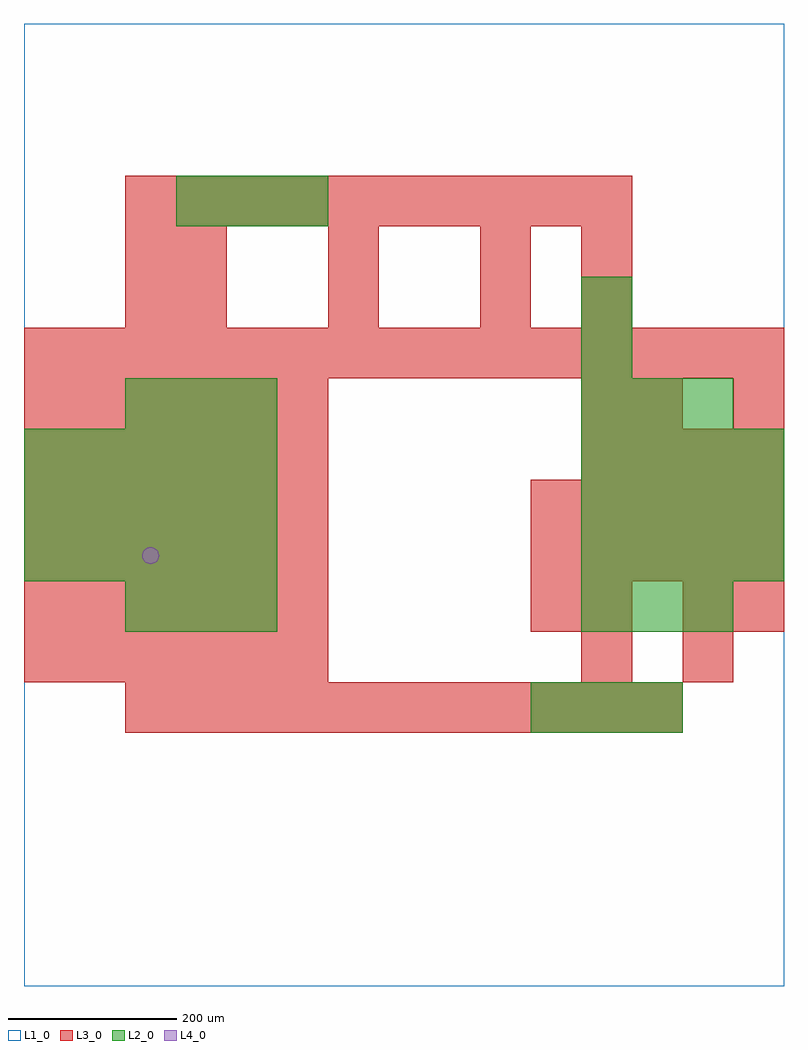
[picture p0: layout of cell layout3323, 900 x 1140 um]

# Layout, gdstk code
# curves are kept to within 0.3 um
import gdstk
lib = gdstk.Library(unit=1e-6, precision=1e-09)
def R(c, l, rs):  # rectangles x0, y0, x1, y1
    for r in rs: c.add(gdstk.rectangle(r[:2], r[2:], *l))
def A(c, l, x, y, w, h, nx, ny, dx, dy):  # array of equal rectangles
    R(c, l, [(x+i*dx, y+j*dy, x+i*dx+w, y+j*dy+h) for i in range(nx) for j in range(ny)])
def P(c, l, *ps):  # polygons
    for p in ps: c.add(gdstk.Polygon(p, *l))
L1_0 = (1, 0)
L2_0 = (2, 0)
L3_0 = (3, 0)
L4_0 = (4, 0)

layout3323 = lib.new_cell('layout3323')
R(layout3323, L1_0, [(0,0,900,1140)])
A(layout3323, L2_0, 600, 300, 60, 60, 3, 1, 60, 0)
A(layout3323, L2_0, 120, 420, 60, 60, 3, 2, 60, 240)
A(layout3323, L2_0, 660, 420, 60, 60, 3, 2, 60, 240)
A(layout3323, L2_0, 0, 480, 60, 60, 5, 3, 60, 60)
A(layout3323, L2_0, 660, 480, 60, 60, 4, 3, 60, 60)
A(layout3323, L2_0, 180, 900, 60, 60, 3, 1, 60, 0)
R(layout3323, L2_0, [(660,720,720,780), (660,780,720,840)])
A(layout3323, L3_0, 120, 300, 60, 60, 11, 1, 60, 0)
A(layout3323, L3_0, 0, 360, 60, 60, 6, 6, 60, 60)
A(layout3323, L3_0, 600, 480, 60, 60, 5, 2, 60, 60)
A(layout3323, L3_0, 660, 600, 60, 60, 4, 1, 60, 0)
A(layout3323, L3_0, 0, 720, 60, 60, 15, 1, 60, 0)
A(layout3323, L3_0, 180, 780, 60, 60, 3, 2, 180, 60)
A(layout3323, L3_0, 120, 900, 60, 60, 10, 1, 60, 0)
R(layout3323, L3_0, [(660,360,720,420), (780,360,840,420), (600,420,660,480), (660,420,720,480), (780,420,840,480), (840,420,900,480), (660,660,720,720), (720,660,780,720), (840,660,900,720), (120,780,180,840), (660,780,720,840), (120,840,180,900), (660,840,720,900)])
P(layout3323, L4_0, [(160,510),(159.239,513.827),(157.071,517.071),(153.827,519.239),(150,520),(146.173,519.239),(142.929,517.071),(140.761,513.827),(140,510),(140.761,506.173),(142.929,502.929),(146.173,500.761),(150,500),(153.827,500.761),(157.071,502.929),(159.239,506.173)])

lib.write_gds('layout3323.gds')
